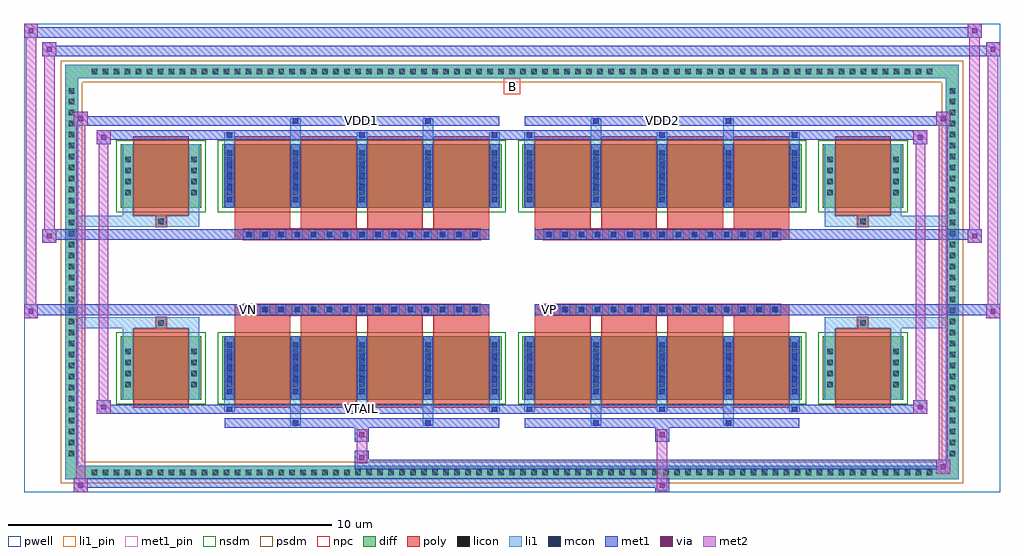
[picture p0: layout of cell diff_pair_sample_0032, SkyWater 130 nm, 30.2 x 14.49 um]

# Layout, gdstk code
import gdstk
lib = gdstk.Library(unit=1e-6, precision=5e-09)
def R(c, l, rs):  # rectangles x0, y0, x1, y1
    for r in rs: c.add(gdstk.rectangle(r[:2], r[2:], *l))
def A(c, l, x, y, w, h, nx, ny, dx, dy):  # array of equal rectangles
    R(c, l, [(x+i*dx, y+j*dy, x+i*dx+w, y+j*dy+h) for i in range(nx) for j in range(ny)])
def P(c, l, *ps):  # polygons
    for p in ps: c.add(gdstk.Polygon(p, *l))
pwell = (64, 44)
diff = (65, 20)
poly = (66, 20)
licon = (66, 44)
li1_pin = (67, 16)
li1 = (67, 20)
mcon = (67, 44)
met1_pin = (68, 16)
met1 = (68, 20)
via = (68, 44)
met2 = (69, 20)
nsdm = (93, 44)
psdm = (94, 20)
npc = (95, 20)

diff_pair_sample_0032 = lib.new_cell('diff_pair_sample_0032')
R(diff_pair_sample_0032, pwell, [(-15.1,-6.81,15.1,7.68), (-12.42,-5,-0.01,-0.8), (0.01,-5,12.42,-0.8), (-12.42,0.8,-0.01,5), (0.01,0.8,12.42,5)])
A(diff_pair_sample_0032, diff, -13.125, -6.41, 0.41, 0.41, 77, 2, 0.34, 12.41)
A(diff_pair_sample_0032, diff, -13.83, -5.815, 0.41, 0.41, 1, 34, 0, 0.34)
A(diff_pair_sample_0032, diff, 13.42, -5.815, 0.41, 0.41, 1, 34, 0, 0.34)
R(diff_pair_sample_0032, diff, [(-13.125,-6.41,13.125,-6), (-13.83,-5.815,-13.42,5.815), (13.42,-5.815,13.83,5.815), (-12.11,-3.955,-9.61,-1.985), (-8.97,-3.955,-0.32,-1.985), (0.32,-3.955,8.97,-1.985), (9.61,-3.955,12.11,-1.985), (-12.11,1.985,-9.61,3.955), (-8.97,1.985,-0.32,3.955), (0.32,1.985,8.97,3.955), (9.61,1.985,12.11,3.955), (-13.125,6,13.125,6.41)])
P(diff_pair_sample_0032, diff, [(13.83,6.41),(-13.83,6.41),(-13.83,-6),(-13.42,-6),(-13.42,6),(13.42,6),(13.42,-6),(-13.42,-6),(-13.83,-6),(-13.83,-6.41),(13.83,-6.41)])
A(diff_pair_sample_0032, poly, -8.58, -4.205, 1.72, 2.47, 4, 2, 2.05, 5.94)
A(diff_pair_sample_0032, poly, 0.71, -4.205, 1.72, 2.47, 4, 2, 2.05, 5.94)
A(diff_pair_sample_0032, poly, -8.58, -1.735, 1.72, 0.405, 4, 2, 2.05, 3.065)
A(diff_pair_sample_0032, poly, 0.71, -1.735, 1.72, 0.405, 4, 2, 2.05, 3.065)
A(diff_pair_sample_0032, poly, -8.31, -1.33, 0.33, 0.33, 15, 2, 0.5, 2.33)
A(diff_pair_sample_0032, poly, 0.98, -1.33, 0.33, 0.33, 15, 2, 0.5, 2.33)
R(diff_pair_sample_0032, poly, [(-11.72,-4.205,-10,-1.735), (10,-4.205,11.72,-1.735), (-11.025,-1.735,-10.695,-1.405), (-11.025,-1.735,-10.695,-1.405), (10.695,-1.735,11.025,-1.405), (10.695,-1.735,11.025,-1.405), (-8.58,-1.33,-0.71,-1), (0.71,-1.33,8.58,-1), (-8.58,1,-0.71,1.33), (0.71,1,8.58,1.33), (-11.025,1.405,-10.695,1.735), (-11.025,1.405,-10.695,1.735), (10.695,1.405,11.025,1.735), (10.695,1.405,11.025,1.735), (-11.72,1.735,-10,4.205), (10,1.735,11.72,4.205)])
A(diff_pair_sample_0032, licon, -13.005, -6.29, 0.17, 0.17, 77, 2, 0.34, 12.41)
A(diff_pair_sample_0032, licon, -13.71, -5.695, 0.17, 0.17, 1, 34, 0, 0.34)
A(diff_pair_sample_0032, licon, 13.54, -5.695, 0.17, 0.17, 1, 34, 0, 0.34)
A(diff_pair_sample_0032, licon, -11.97, -3.565, 0.17, 0.17, 1, 4, 0, 0.34)
A(diff_pair_sample_0032, licon, -9.92, -3.565, 0.17, 0.17, 1, 4, 0, 0.34)
A(diff_pair_sample_0032, licon, -8.83, -3.565, 0.17, 0.17, 5, 4, 2.05, 0.34)
A(diff_pair_sample_0032, licon, 0.46, -3.565, 0.17, 0.17, 5, 4, 2.05, 0.34)
A(diff_pair_sample_0032, licon, 9.75, -3.565, 0.17, 0.17, 1, 4, 0, 0.34)
A(diff_pair_sample_0032, licon, 11.8, -3.565, 0.17, 0.17, 1, 4, 0, 0.34)
A(diff_pair_sample_0032, licon, -8.23, -1.25, 0.17, 0.17, 15, 2, 0.5, 2.33)
A(diff_pair_sample_0032, licon, 1.06, -1.25, 0.17, 0.17, 15, 2, 0.5, 2.33)
A(diff_pair_sample_0032, licon, -11.97, 2.375, 0.17, 0.17, 1, 4, 0, 0.34)
A(diff_pair_sample_0032, licon, -9.92, 2.375, 0.17, 0.17, 1, 4, 0, 0.34)
A(diff_pair_sample_0032, licon, -8.83, 2.375, 0.17, 0.17, 5, 4, 2.05, 0.34)
A(diff_pair_sample_0032, licon, 0.46, 2.375, 0.17, 0.17, 5, 4, 2.05, 0.34)
A(diff_pair_sample_0032, licon, 9.75, 2.375, 0.17, 0.17, 1, 4, 0, 0.34)
A(diff_pair_sample_0032, licon, 11.8, 2.375, 0.17, 0.17, 1, 4, 0, 0.34)
R(diff_pair_sample_0032, licon, [(-10.945,-1.655,-10.775,-1.485), (10.775,-1.655,10.945,-1.485), (-10.945,1.485,-10.775,1.655), (10.775,1.485,10.945,1.655)])
R(diff_pair_sample_0032, li1_pin, [(-0.25,5.5,0.25,6)])
A(diff_pair_sample_0032, li1, -13.085, -6.37, 0.33, 0.33, 77, 2, 0.34, 12.41)
A(diff_pair_sample_0032, li1, -13.79, -5.775, 0.33, 0.33, 1, 34, 0, 0.34)
A(diff_pair_sample_0032, li1, 13.46, -5.775, 0.33, 0.33, 1, 34, 0, 0.34)
A(diff_pair_sample_0032, li1, -8.91, -4.33, 0.33, 0.375, 3, 2, 4.1, 8.285)
A(diff_pair_sample_0032, li1, -8.83, -4.33, 0.17, 0.17, 3, 2, 4.1, 8.49)
A(diff_pair_sample_0032, li1, 0.38, -4.33, 0.33, 0.375, 3, 2, 4.1, 8.285)
A(diff_pair_sample_0032, li1, 0.46, -4.33, 0.17, 0.17, 3, 2, 4.1, 8.49)
A(diff_pair_sample_0032, li1, -8.91, -3.955, 0.33, 1.97, 5, 2, 2.05, 5.94)
A(diff_pair_sample_0032, li1, 0.38, -3.955, 0.33, 1.97, 5, 2, 2.05, 5.94)
A(diff_pair_sample_0032, li1, -8.83, -3.775, 0.17, 0.17, 5, 5, 2.05, 0.36)
A(diff_pair_sample_0032, li1, -8.83, -3.775, 0.17, 1.61, 5, 2, 2.05, 5.94)
A(diff_pair_sample_0032, li1, 0.46, -3.775, 0.17, 0.17, 5, 5, 2.05, 0.36)
A(diff_pair_sample_0032, li1, 0.46, -3.775, 0.17, 1.61, 5, 2, 2.05, 5.94)
A(diff_pair_sample_0032, li1, -12.05, -3.645, 0.33, 0.33, 1, 4, 0, 0.34)
A(diff_pair_sample_0032, li1, -10, -3.645, 0.33, 0.33, 1, 4, 0, 0.34)
A(diff_pair_sample_0032, li1, -8.91, -3.645, 0.33, 0.33, 5, 4, 2.05, 0.34)
A(diff_pair_sample_0032, li1, 0.38, -3.645, 0.33, 0.33, 5, 4, 2.05, 0.34)
A(diff_pair_sample_0032, li1, 9.67, -3.645, 0.33, 0.33, 1, 4, 0, 0.34)
A(diff_pair_sample_0032, li1, 11.72, -3.645, 0.33, 0.33, 1, 4, 0, 0.34)
A(diff_pair_sample_0032, li1, -8.31, -1.33, 0.33, 0.33, 15, 2, 0.5, 2.33)
A(diff_pair_sample_0032, li1, 0.98, -1.33, 0.33, 0.33, 15, 2, 0.5, 2.33)
A(diff_pair_sample_0032, li1, -8.83, 2.165, 0.17, 0.17, 5, 5, 2.05, 0.36)
A(diff_pair_sample_0032, li1, 0.46, 2.165, 0.17, 0.17, 5, 5, 2.05, 0.36)
A(diff_pair_sample_0032, li1, -12.05, 2.295, 0.33, 0.33, 1, 4, 0, 0.34)
A(diff_pair_sample_0032, li1, -10, 2.295, 0.33, 0.33, 1, 4, 0, 0.34)
A(diff_pair_sample_0032, li1, -8.91, 2.295, 0.33, 0.33, 5, 4, 2.05, 0.34)
A(diff_pair_sample_0032, li1, 0.38, 2.295, 0.33, 0.33, 5, 4, 2.05, 0.34)
A(diff_pair_sample_0032, li1, 9.67, 2.295, 0.33, 0.33, 1, 4, 0, 0.34)
A(diff_pair_sample_0032, li1, 11.72, 2.295, 0.33, 0.33, 1, 4, 0, 0.34)
R(diff_pair_sample_0032, li1, [(-13.83,-6.41,-13.42,-6), (-13.83,-6.41,-13.42,-6), (-13.42,-6.41,13.42,-6), (13.42,-6.41,13.83,-6), (13.42,-6.41,13.83,-6), (-13.83,-6,-13.42,6), (13.42,-6,13.83,6), (-6.86,-4.76,-6.53,-3.955), (-6.78,-4.76,-6.61,-4.59), (-2.76,-4.76,-2.43,-3.955), (-2.68,-4.76,-2.51,-4.59), (2.43,-4.76,2.76,-3.955), (2.51,-4.76,2.68,-4.59), (6.53,-4.76,6.86,-3.955), (6.61,-4.76,6.78,-4.59), (-12.05,-3.955,-11.72,-1.985), (-10,-3.955,-9.67,-1.985), (9.67,-3.955,10,-1.985), (11.72,-3.955,12.05,-1.985), (-12.05,-1.985,-11.72,-1.405), (-10,-1.985,-9.67,-1.405), (9.67,-1.985,10,-1.405), (11.72,-1.985,12.05,-1.405), (-13.83,-1.735,-11.025,-1.405), (-12.05,-1.735,-11.025,-1.405), (-11.025,-1.735,-10.695,-1.405), (-10.695,-1.735,-9.67,-1.405), (9.67,-1.735,10.695,-1.405), (10.695,-1.735,11.025,-1.405), (10.695,-1.735,13.83,-1.405), (11.025,-1.735,12.05,-1.405), (-13.83,1.405,-11.025,1.735), (-12.05,1.405,-11.025,1.735), (-12.05,1.405,-11.72,1.985), (-11.025,1.405,-10.695,1.735), (-10.695,1.405,-9.67,1.735), (-10,1.405,-9.67,1.985), (9.67,1.405,10.695,1.735), (9.67,1.405,10,1.985), (10.695,1.405,11.025,1.735), (10.695,1.405,13.83,1.735), (11.025,1.405,12.05,1.735), (11.72,1.405,12.05,1.985), (-12.05,1.985,-11.72,3.955), (-10,1.985,-9.67,3.955), (9.67,1.985,10,3.955), (11.72,1.985,12.05,3.955), (-6.86,3.955,-6.53,4.76), (-2.76,3.955,-2.43,4.76), (2.43,3.955,2.76,4.76), (6.53,3.955,6.86,4.76), (-6.78,4.59,-6.61,4.76), (-2.68,4.59,-2.51,4.76), (2.51,4.59,2.68,4.76), (6.61,4.59,6.78,4.76), (-13.83,6,-13.42,6.41), (-13.83,6,-13.42,6.41), (-13.42,6,13.42,6.41), (13.42,6,13.83,6.41), (13.42,6,13.83,6.41)])
A(diff_pair_sample_0032, mcon, -8.83, -4.33, 0.17, 0.17, 3, 2, 4.1, 8.49)
A(diff_pair_sample_0032, mcon, 0.46, -4.33, 0.17, 0.17, 3, 2, 4.1, 8.49)
A(diff_pair_sample_0032, mcon, -8.83, -3.775, 0.17, 0.17, 5, 5, 2.05, 0.36)
A(diff_pair_sample_0032, mcon, 0.46, -3.775, 0.17, 0.17, 5, 5, 2.05, 0.36)
A(diff_pair_sample_0032, mcon, -8.23, -1.25, 0.17, 0.17, 15, 2, 0.5, 2.33)
A(diff_pair_sample_0032, mcon, 1.06, -1.25, 0.17, 0.17, 15, 2, 0.5, 2.33)
A(diff_pair_sample_0032, mcon, -8.83, 2.165, 0.17, 0.17, 5, 5, 2.05, 0.36)
A(diff_pair_sample_0032, mcon, 0.46, 2.165, 0.17, 0.17, 5, 5, 2.05, 0.36)
R(diff_pair_sample_0032, mcon, [(-6.78,-4.76,-6.61,-4.59), (-2.68,-4.76,-2.51,-4.59), (2.51,-4.76,2.68,-4.59), (6.61,-4.76,6.78,-4.59), (-6.78,4.59,-6.61,4.76), (-2.68,4.59,-2.51,4.76), (2.51,4.59,2.68,4.76), (6.61,4.59,6.78,4.76)])
R(diff_pair_sample_0032, met1_pin, [(-4.78,-4.37,-4.51,-4.1), (-8.28,-1.29,-8.01,-1.02), (1.01,-1.29,1.28,-1.02), (-4.78,4.55,-4.51,4.82), (4.51,4.55,4.78,4.82)])
A(diff_pair_sample_0032, met1, -8.89, -4.39, 0.29, 0.29, 3, 2, 4.1, 8.49)
A(diff_pair_sample_0032, met1, 0.4, -4.39, 0.29, 0.29, 3, 2, 4.1, 8.49)
A(diff_pair_sample_0032, met1, -8.89, -3.955, 0.29, 1.97, 5, 2, 2.05, 5.94)
A(diff_pair_sample_0032, met1, 0.4, -3.955, 0.29, 1.97, 5, 2, 2.05, 5.94)
A(diff_pair_sample_0032, met1, -8.89, -3.835, 0.29, 0.29, 5, 5, 2.05, 0.36)
A(diff_pair_sample_0032, met1, 0.4, -3.835, 0.29, 0.29, 5, 5, 2.05, 0.36)
A(diff_pair_sample_0032, met1, -8.29, -1.31, 0.29, 0.29, 15, 2, 0.5, 2.33)
A(diff_pair_sample_0032, met1, 1, -1.31, 0.29, 0.29, 15, 2, 0.5, 2.33)
A(diff_pair_sample_0032, met1, -8.89, 2.105, 0.29, 0.29, 5, 5, 2.05, 0.36)
A(diff_pair_sample_0032, met1, 0.4, 2.105, 0.29, 0.29, 5, 5, 2.05, 0.36)
R(diff_pair_sample_0032, met1, [(-13.56,-6.81,-13.13,-6.38), (4.43,-6.81,4.86,-6.38), (-13.56,-6.67,4.86,-6.38), (13.13,-6.24,13.56,-5.81), (-4.86,-6.1,13.56,-5.81), (-4.86,-5.96,-4.43,-5.53), (-4.86,-5.25,-4.43,-4.82), (4.43,-5.25,4.86,-4.82), (-8.89,-4.82,-0.4,-4.53), (-6.84,-4.82,-6.55,-4.53), (-2.74,-4.82,-2.45,-4.53), (0.4,-4.82,8.89,-4.53), (2.45,-4.82,2.74,-4.53), (6.55,-4.82,6.84,-4.53), (-12.85,-4.39,-12.42,-3.96), (-12.85,-4.39,-8.89,-4.1), (-8.89,-4.39,-0.4,-4.1), (-0.4,-4.39,0.4,-4.1), (0.4,-4.39,8.89,-4.1), (8.89,-4.39,12.85,-4.1), (12.42,-4.39,12.85,-3.96), (-15.1,-1.43,-14.67,-1), (14.67,-1.43,15.1,-1), (-15.1,-1.33,-0.71,-1), (-8.58,-1.33,-0.71,-1), (0.71,-1.33,8.58,-1), (0.71,-1.33,15.1,-1), (-14.53,0.9,-14.1,1.33), (14.1,0.9,14.53,1.33), (-14.53,1,-8.58,1.33), (-8.58,1,-0.71,1.33), (0.71,1,8.58,1.33), (8.58,1,14.53,1.33), (-12.85,3.96,-12.42,4.39), (12.42,3.96,12.85,4.39), (-12.85,4.1,-8.89,4.39), (-8.89,4.1,-0.4,4.39), (-0.4,4.1,0.4,4.39), (0.4,4.1,8.89,4.39), (8.89,4.1,12.85,4.39), (-13.56,4.53,-13.13,4.96), (-13.56,4.53,-8.89,4.82), (-8.89,4.53,-0.4,4.82), (-6.84,4.53,-6.55,4.82), (-2.74,4.53,-2.45,4.82), (0.4,4.53,8.89,4.82), (2.45,4.53,2.74,4.82), (6.55,4.53,6.84,4.82), (8.89,4.53,13.56,4.82), (13.13,4.53,13.56,4.96), (-14.53,6.68,-14.1,7.11), (-14.53,6.68,-12.42,7.01), (-12.42,6.68,12.42,7.01), (12.42,6.68,15.1,7.01), (14.67,6.68,15.1,7.11), (-15.1,7.25,-14.67,7.68), (-15.1,7.25,-12.42,7.58), (-12.42,7.25,12.42,7.58), (12.42,7.25,14.53,7.58), (14.1,7.25,14.53,7.68)])
R(diff_pair_sample_0032, via, [(-13.42,-6.67,-13.27,-6.52), (4.57,-6.67,4.72,-6.52), (13.27,-6.1,13.42,-5.95), (-4.72,-5.82,-4.57,-5.67), (-4.72,-5.11,-4.57,-4.96), (4.57,-5.11,4.72,-4.96), (-12.71,-4.25,-12.56,-4.1), (12.56,-4.25,12.71,-4.1), (-14.96,-1.29,-14.81,-1.14), (14.81,-1.29,14.96,-1.14), (-14.39,1.04,-14.24,1.19), (14.24,1.04,14.39,1.19), (-12.71,4.1,-12.56,4.25), (12.56,4.1,12.71,4.25), (-13.42,4.67,-13.27,4.82), (13.27,4.67,13.42,4.82), (-14.39,6.82,-14.24,6.97), (14.81,6.82,14.96,6.97), (-14.96,7.39,-14.81,7.54), (14.24,7.39,14.39,7.54)])
R(diff_pair_sample_0032, met2, [(-13.56,-6.81,-13.13,-6.38), (-13.49,-6.81,-13.2,4.96), (-13.2,-6.81,-13.13,-6.38), (-13.51,-6.76,-13.18,-6.43), (4.48,-6.76,4.81,-6.43), (4.48,-6.43,4.81,-5.2), (13.13,-6.24,13.56,-5.81), (13.2,-6.24,13.49,4.96), (13.49,-6.24,13.56,-5.81), (13.18,-6.19,13.51,-5.86), (-4.81,-5.91,-4.48,-5.58), (-4.81,-5.58,-4.48,-5.2), (-4.81,-5.2,-4.48,-4.87), (4.48,-5.2,4.81,-4.87), (-12.85,-4.39,-12.42,-3.96), (-12.78,-4.39,-12.49,4.39), (-12.49,-4.39,-12.42,-3.96), (12.42,-4.39,12.85,-3.96), (12.49,-4.39,12.78,4.39), (12.78,-4.39,12.85,-3.96), (-12.8,-4.34,-12.47,-4.01), (12.47,-4.34,12.8,-4.01), (-15.1,-1.43,-14.67,-1), (-15.05,-1.43,-14.72,7.68), (-14.72,-1.43,-14.67,-1), (14.67,-1.43,15.1,-1), (14.72,-1.43,15.05,7.11), (15.05,-1.43,15.1,-1), (-15.05,-1.38,-14.72,-1.05), (14.72,-1.38,15.05,-1.05), (-14.53,0.9,-14.1,1.33), (-14.48,0.9,-14.15,7.11), (-14.15,0.9,-14.1,1.33), (14.1,0.9,14.53,1.33), (14.15,0.9,14.48,7.68), (14.48,0.9,14.53,1.33), (-14.48,0.95,-14.15,1.28), (14.15,0.95,14.48,1.28), (-12.85,3.96,-12.42,4.39), (-12.49,3.96,-12.42,4.39), (12.42,3.96,12.85,4.39), (12.78,3.96,12.85,4.39), (-12.8,4.01,-12.47,4.34), (12.47,4.01,12.8,4.34), (-13.56,4.53,-13.13,4.96), (-13.2,4.53,-13.13,4.96), (13.13,4.53,13.56,4.96), (13.49,4.53,13.56,4.96), (-13.51,4.58,-13.18,4.91), (13.18,4.58,13.51,4.91), (-14.53,6.68,-14.1,7.11), (-14.15,6.68,-14.1,7.11), (14.67,6.68,15.1,7.11), (15.05,6.68,15.1,7.11), (-14.48,6.73,-14.15,7.06), (14.72,6.73,15.05,7.06), (-15.1,7.25,-14.67,7.68), (-14.72,7.25,-14.67,7.68), (14.1,7.25,14.53,7.68), (14.48,7.25,14.53,7.68), (-15.05,7.3,-14.72,7.63), (14.15,7.3,14.48,7.63)])
R(diff_pair_sample_0032, nsdm, [(-12.24,-4.085,-9.48,-1.855), (-9.1,-4.085,-0.19,-1.855), (0.19,-4.085,9.1,-1.855), (9.48,-4.085,12.24,-1.855), (-12.24,1.855,-9.48,4.085), (-9.1,1.855,-0.19,4.085), (0.19,1.855,9.1,4.085), (9.48,1.855,12.24,4.085)])
P(diff_pair_sample_0032, psdm, [(13.96,6.54),(-13.96,6.54),(-13.96,-5.87),(-13.29,-5.87),(-13.29,5.87),(13.29,5.87),(13.29,-5.87),(-13.29,-5.87),(-13.96,-5.87),(-13.96,-6.54),(13.96,-6.54)])
A(diff_pair_sample_0032, npc, -8.33, -1.35, 0.37, 0.37, 15, 2, 0.5, 2.33)
A(diff_pair_sample_0032, npc, 0.96, -1.35, 0.37, 0.37, 15, 2, 0.5, 2.33)
R(diff_pair_sample_0032, npc, [(-11.045,-1.755,-10.675,-1.385), (10.675,-1.755,11.045,-1.385), (-8.33,-1.35,-7.46,-0.98), (-8.33,-1.35,-7.46,-0.98), (-7.83,-1.35,-6.96,-0.98), (-7.83,-1.35,-6.96,-0.98), (-7.33,-1.35,-6.46,-0.98), (-7.33,-1.35,-6.46,-0.98), (-6.83,-1.35,-5.96,-0.98), (-6.83,-1.35,-5.96,-0.98), (-6.33,-1.35,-5.46,-0.98), (-6.33,-1.35,-5.46,-0.98), (-5.83,-1.35,-4.96,-0.98), (-5.83,-1.35,-4.96,-0.98), (-5.33,-1.35,-4.46,-0.98), (-5.33,-1.35,-4.46,-0.98), (-4.83,-1.35,-3.96,-0.98), (-4.83,-1.35,-3.96,-0.98), (-4.33,-1.35,-3.46,-0.98), (-4.33,-1.35,-3.46,-0.98), (-3.83,-1.35,-2.96,-0.98), (-3.83,-1.35,-2.96,-0.98), (-3.33,-1.35,-2.46,-0.98), (-3.33,-1.35,-2.46,-0.98), (-2.83,-1.35,-1.96,-0.98), (-2.83,-1.35,-1.96,-0.98), (-2.33,-1.35,-1.46,-0.98), (-2.33,-1.35,-1.46,-0.98), (-1.83,-1.35,-0.96,-0.98), (-1.83,-1.35,-0.96,-0.98), (0.96,-1.35,1.83,-0.98), (0.96,-1.35,1.83,-0.98), (1.46,-1.35,2.33,-0.98), (1.46,-1.35,2.33,-0.98), (1.96,-1.35,2.83,-0.98), (1.96,-1.35,2.83,-0.98), (2.46,-1.35,3.33,-0.98), (2.46,-1.35,3.33,-0.98), (2.96,-1.35,3.83,-0.98), (2.96,-1.35,3.83,-0.98), (3.46,-1.35,4.33,-0.98), (3.46,-1.35,4.33,-0.98), (3.96,-1.35,4.83,-0.98), (3.96,-1.35,4.83,-0.98), (4.46,-1.35,5.33,-0.98), (4.46,-1.35,5.33,-0.98), (4.96,-1.35,5.83,-0.98), (4.96,-1.35,5.83,-0.98), (5.46,-1.35,6.33,-0.98), (5.46,-1.35,6.33,-0.98), (5.96,-1.35,6.83,-0.98), (5.96,-1.35,6.83,-0.98), (6.46,-1.35,7.33,-0.98), (6.46,-1.35,7.33,-0.98), (6.96,-1.35,7.83,-0.98), (6.96,-1.35,7.83,-0.98), (7.46,-1.35,8.33,-0.98), (7.46,-1.35,8.33,-0.98), (-8.33,0.98,-7.46,1.35), (-8.33,0.98,-7.46,1.35), (-7.83,0.98,-6.96,1.35), (-7.83,0.98,-6.96,1.35), (-7.33,0.98,-6.46,1.35), (-7.33,0.98,-6.46,1.35), (-6.83,0.98,-5.96,1.35), (-6.83,0.98,-5.96,1.35), (-6.33,0.98,-5.46,1.35), (-6.33,0.98,-5.46,1.35), (-5.83,0.98,-4.96,1.35), (-5.83,0.98,-4.96,1.35), (-5.33,0.98,-4.46,1.35), (-5.33,0.98,-4.46,1.35), (-4.83,0.98,-3.96,1.35), (-4.83,0.98,-3.96,1.35), (-4.33,0.98,-3.46,1.35), (-4.33,0.98,-3.46,1.35), (-3.83,0.98,-2.96,1.35), (-3.83,0.98,-2.96,1.35), (-3.33,0.98,-2.46,1.35), (-3.33,0.98,-2.46,1.35), (-2.83,0.98,-1.96,1.35), (-2.83,0.98,-1.96,1.35), (-2.33,0.98,-1.46,1.35), (-2.33,0.98,-1.46,1.35), (-1.83,0.98,-0.96,1.35), (-1.83,0.98,-0.96,1.35), (0.96,0.98,1.83,1.35), (0.96,0.98,1.83,1.35), (1.46,0.98,2.33,1.35), (1.46,0.98,2.33,1.35), (1.96,0.98,2.83,1.35), (1.96,0.98,2.83,1.35), (2.46,0.98,3.33,1.35), (2.46,0.98,3.33,1.35), (2.96,0.98,3.83,1.35), (2.96,0.98,3.83,1.35), (3.46,0.98,4.33,1.35), (3.46,0.98,4.33,1.35), (3.96,0.98,4.83,1.35), (3.96,0.98,4.83,1.35), (4.46,0.98,5.33,1.35), (4.46,0.98,5.33,1.35), (4.96,0.98,5.83,1.35), (4.96,0.98,5.83,1.35), (5.46,0.98,6.33,1.35), (5.46,0.98,6.33,1.35), (5.96,0.98,6.83,1.35), (5.96,0.98,6.83,1.35), (6.46,0.98,7.33,1.35), (6.46,0.98,7.33,1.35), (6.96,0.98,7.83,1.35), (6.96,0.98,7.83,1.35), (7.46,0.98,8.33,1.35), (7.46,0.98,8.33,1.35), (-11.045,1.385,-10.675,1.755), (10.675,1.385,11.045,1.755)])
diff_pair_sample_0032.add(gdstk.Label('VTAIL', (-4.645,-4.235), layer=68, texttype=5))
diff_pair_sample_0032.add(gdstk.Label('VN', (-8.145,-1.155), layer=68, texttype=5))
diff_pair_sample_0032.add(gdstk.Label('VP', (1.145,-1.155), layer=68, texttype=5))
diff_pair_sample_0032.add(gdstk.Label('B', (0,5.75), layer=67, texttype=5))
diff_pair_sample_0032.add(gdstk.Label('VDD2', (4.645,4.685), layer=68, texttype=5))
diff_pair_sample_0032.add(gdstk.Label('VDD1', (-4.645,4.685), layer=68, texttype=5))

lib.write_gds('diff_pair_sample_0032.gds')
